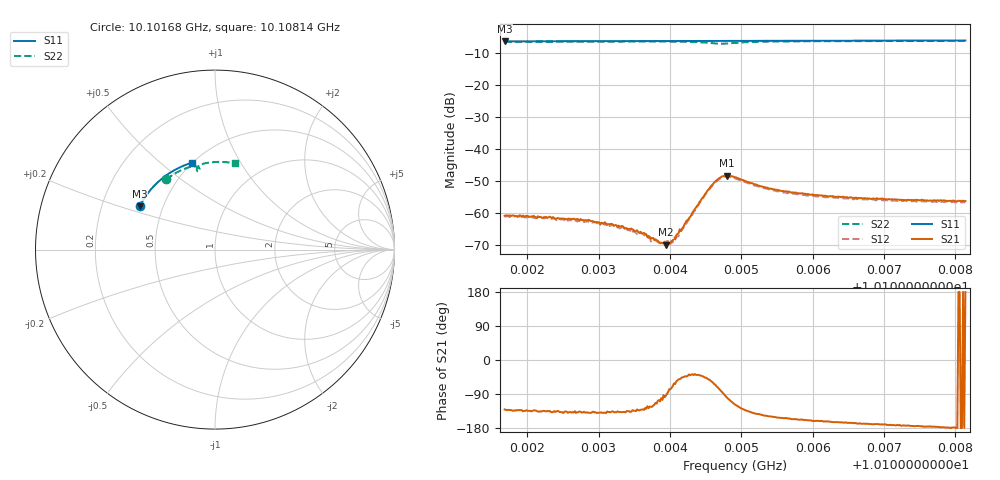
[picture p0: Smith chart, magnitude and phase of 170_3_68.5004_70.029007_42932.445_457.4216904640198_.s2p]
#  HZ  S  RI  R  50.00
! Rohde & Schwarz Vector Network Analyzer
! Rohde-Schwarz,ZNB20-2Port,1311601062101988,3.16
! Created: UTC 3/20/2024, 4:56:10 PM
! freq[Hz]  re:S11  im:S11  re:S21  im:S21  re:S12  im:S12  re:S22  im:S22
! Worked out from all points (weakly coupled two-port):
!   401 points, 10.10168 GHz to 10.10814 GHz, reference 50 ohm
!   highest |S21| = -48.24 dB at 10.1048 GHz (marker M1); lowest = -69.9 dB at 10.10394 GHz (marker M2)
!   lowest |S11| = -6.3 dB at 10.10168 GHz (marker M3), VSWR 2.88, Z = 18.5 + j11.6 ohm
!   |S11| at or under -10 dB: nowhere
!   |S22| runs from -7.0 to -6.1 dB; largest |S21 - S12| = 0.00039
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1.0101684e10  -0.4198 0.2414  -0.00059 -0.00069  -0.00056 -0.000699  -0.2716 0.3918
1.0102297e10  -0.4016 0.274  -0.00061 -0.000606  -0.000551 -0.00064  -0.2386 0.4147
1.0102765e10  -0.3859 0.298  -0.000586 -0.000514  -0.000498 -0.00051  -0.212 0.4303
1.0103039e10  -0.3761 0.3115  -0.000529 -0.000472  -0.000491 -0.000485  -0.1958 0.4385
1.0103314e10  -0.3659 0.3246  -0.000459 -0.00042  -0.000406 -0.000424  -0.1789 0.4463
1.0103588e10  -0.3554 0.3374  -0.000338 -0.000385  -0.000293 -0.000386  -0.1612 0.4534
1.0103701e10  -0.3506 0.3426  -0.000266 -0.000351  -0.000208 -0.000352  -0.1536 0.4561
1.0103846e10  -0.3448 0.3491  -9.76e-05 -0.00034  -9.7e-05 -0.00033  -0.1435 0.4591
1.0103943e10  -0.3408 0.3533  -2.21e-05 -0.000321  4.45e-05 -0.000333  -0.1364 0.4608
1.0103976e10  -0.3395 0.3548  3.75e-05 -0.00036  5.78e-05 -0.00032  -0.1338 0.4614
1.0104024e10  -0.3374 0.357  0.000108 -0.000351  0.000146 -0.000333  -0.1301 0.4622
1.0104121e10  -0.3334 0.3612  0.000305 -0.000378  0.000272 -0.000339  -0.1224 0.4632
1.0104185e10  -0.3304 0.364  0.00042 -0.000427  0.000435 -0.000378  -0.117 0.4635
1.010446e10  -0.3184 0.3753  0.00129 -0.00119  0.00133 -0.00102  -0.0922 0.4577
1.0104605e10  -0.3118 0.3812  0.00142 -0.00249  0.00155 -0.00229  -0.0844 0.4451
1.0104702e10  -0.3075 0.385  0.000672 -0.00352  0.000962 -0.00332  -0.0888 0.4365
1.0104799e10  -0.3032 0.3888  -0.000613 -0.00382  -0.000251 -0.0037  -0.0979 0.4374
1.0104912e10  -0.2979 0.3933  -0.00169 -0.00323  -0.00135 -0.00322  -0.1019 0.4478
1.0105412e10  -0.2741 0.4119  -0.00208 -0.00124  -0.00188 -0.00137  -0.0705 0.4763
1.0105993e10  -0.2448 0.4316  -0.00185 -0.000645  -0.00169 -0.00079  -0.0297 0.4855
1.0107074e10  -0.1872 0.4622  -0.00164 -0.000234  -0.00149 -0.000389  0.0419 0.4884
1.010814e10  -0.1265 0.4844  -0.00155 1.51e-05  -0.00147 -0.000172  0.1103 0.4803
